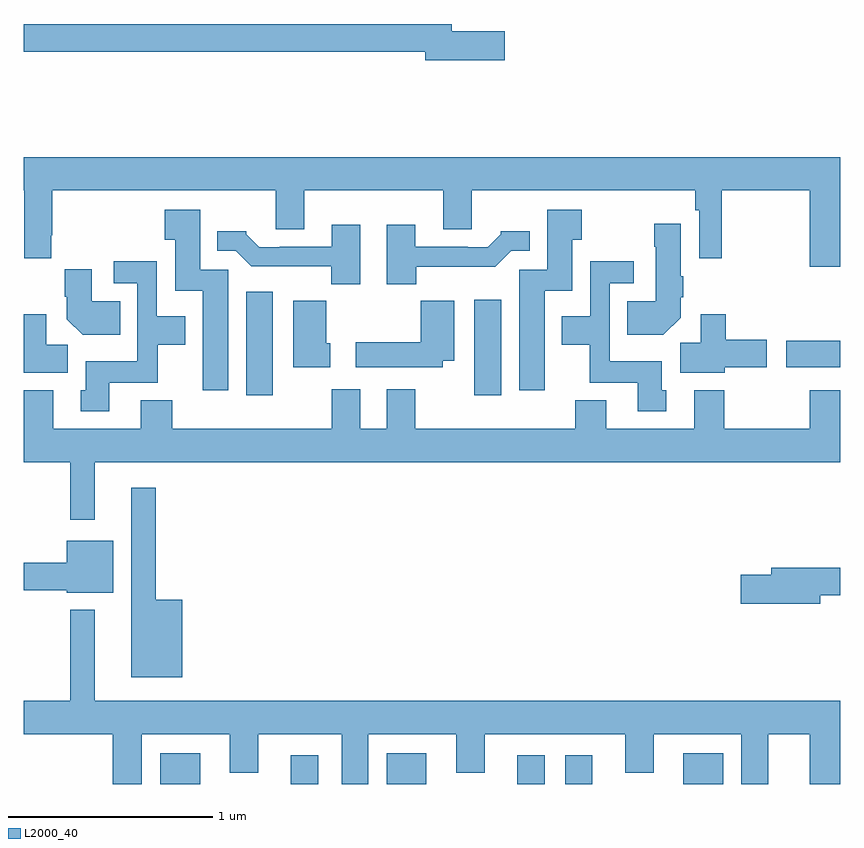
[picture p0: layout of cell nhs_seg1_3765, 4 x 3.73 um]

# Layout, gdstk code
import gdstk
lib = gdstk.Library(unit=1e-6, precision=1e-09)
def R(c, l, rs):  # rectangles x0, y0, x1, y1
    for r in rs: c.add(gdstk.rectangle(r[:2], r[2:], *l))
def P(c, l, *ps):  # polygons
    for p in ps: c.add(gdstk.Polygon(p, *l))
L2000_40 = (2000, 40)

nhs_seg1_3765 = lib.new_cell('nhs_seg1_3765')
R(nhs_seg1_3765, L2000_40, [(317.667,506.199,317.863,506.35), (318.308,506.199,318.442,506.341), (318.777,506.199,318.973,506.35), (319.418,506.199,319.552,506.341), (319.652,506.199,319.786,506.341), (320.231,506.199,320.427,506.35), (318.089,508.104,318.22,508.612), (319.208,508.104,319.339,508.573), (320.736,508.241,321,508.371)])
P(nhs_seg1_3765, L2000_40, [(319.357,509.888),(319.096,509.888),(319.096,509.924),(317,509.924),(317,509.788),(318.968,509.788),(318.968,509.746),(319.357,509.746)],
  [(321,509.272),(317,509.272),(317,509.108),(317.002,509.108),(317.002,508.776),(317.134,508.776),(317.134,508.888),(317.138,508.888),(317.138,509.108),(318.233,509.108),(318.233,508.918),(318.373,508.918),(318.373,509.108),(319.055,509.108),(319.055,508.918),(319.195,508.918),(319.195,509.108),(320.29,509.108),(320.29,509.012),(320.31,509.012),(320.31,508.776),(320.419,508.776),(320.419,509.108),(320.852,509.108),(320.852,508.734),(321,508.734)],
  [(318.001,508.719),(317.863,508.719),(317.863,509.014),(317.69,509.014),(317.69,508.867),(317.741,508.867),(317.741,508.616),(317.876,508.616),(317.876,508.128),(318.001,508.128)],
  [(319.552,508.616),(319.687,508.616),(319.687,508.867),(319.734,508.867),(319.734,509.014),(319.565,509.014),(319.565,508.719),(319.427,508.719),(319.427,508.128),(319.552,508.128)],
  [(320.218,508.484),(320.218,508.585),(320.231,508.585),(320.231,508.688),(320.218,508.688),(320.218,508.945),(320.089,508.945),(320.089,508.832),(320.096,508.832),(320.096,508.564),(319.957,508.564),(319.957,508.4),(320.134,508.4)],
  [(318.649,508.939),(318.509,508.939),(318.509,508.833),(318.253,508.833),(318.253,508.83),(318.154,508.83),(318.09,508.894),(318.09,508.909),(317.948,508.909),(317.948,508.812),(318.039,508.812),(318.115,508.736),(318.507,508.736),(318.507,508.649),(318.649,508.649)],
  [(318.922,508.734),(319.311,508.734),(319.389,508.812),(319.48,508.812),(319.48,508.909),(319.338,508.909),(319.338,508.894),(319.274,508.83),(319.175,508.83),(319.175,508.833),(318.919,508.833),(318.919,508.939),(318.779,508.939),(318.779,508.649),(318.922,508.649)],
  [(317.419,508.166),(317.655,508.166),(317.655,508.352),(317.791,508.352),(317.791,508.492),(317.652,508.492),(317.652,508.762),(317.439,508.762),(317.439,508.653),(317.556,508.653),(317.556,508.27),(317.303,508.27),(317.303,508.128),(317.279,508.128),(317.279,508.026),(317.419,508.026)],
  [(320.149,508.128),(320.125,508.128),(320.125,508.27),(319.872,508.27),(319.872,508.653),(319.99,508.653),(319.99,508.762),(319.776,508.762),(319.776,508.492),(319.637,508.492),(319.637,508.352),(319.774,508.352),(319.774,508.166),(320.009,508.166),(320.009,508.026),(320.149,508.026)],
  [(317.471,508.564),(317.332,508.564),(317.332,508.723),(317.201,508.723),(317.201,508.588),(317.21,508.588),(317.21,508.478),(317.288,508.4),(317.471,508.4)],
  [(318.502,508.359),(318.482,508.359),(318.482,508.567),(318.32,508.567),(318.32,508.241),(318.502,508.241)],
  [(319.053,508.274),(319.108,508.274),(319.108,508.567),(318.946,508.567),(318.946,508.363),(318.627,508.363),(318.627,508.241),(319.053,508.241)],
  [(317.215,508.352),(317.11,508.352),(317.11,508.501),(317,508.501),(317,508.214),(317.215,508.214)],
  [(320.436,508.241),(320.641,508.241),(320.641,508.376),(320.44,508.376),(320.44,508.501),(320.318,508.501),(320.318,508.361),(320.216,508.361),(320.216,508.214),(320.436,508.214)],
  [(321,508.129),(320.852,508.129),(320.852,507.94),(320.433,507.94),(320.433,508.129),(320.285,508.129),(320.285,507.94),(319.855,507.94),(319.855,508.081),(319.703,508.081),(319.703,507.94),(318.919,507.94),(318.919,508.135),(318.779,508.135),(318.779,507.94),(318.649,507.94),(318.649,508.135),(318.509,508.135),(318.509,507.94),(317.726,507.94),(317.726,508.081),(317.573,508.081),(317.573,507.94),(317.143,507.94),(317.143,508.129),(317,508.129),(317,507.776),(317.226,507.776),(317.226,507.495),(317.347,507.495),(317.347,507.776),(321,507.776)],
  [(317.776,507.103),(317.647,507.103),(317.647,507.652),(317.525,507.652),(317.525,506.723),(317.776,506.723)],
  [(317.437,507.391),(317.21,507.391),(317.21,507.284),(317,507.284),(317,507.148),(317.21,507.148),(317.21,507.137),(317.437,507.137)],
  [(320.902,507.124),(321,507.124),(321,507.26),(320.663,507.26),(320.663,507.224),(320.514,507.224),(320.514,507.082),(320.902,507.082)],
  [(317.347,507.052),(317.226,507.052),(317.226,506.608),(317,506.608),(317,506.444),(317.435,506.444),(317.435,506.199),(317.578,506.199),(317.578,506.444),(318.008,506.444),(318.008,506.254),(318.148,506.254),(318.148,506.444),(318.557,506.444),(318.557,506.199),(318.688,506.199),(318.688,506.444),(319.118,506.444),(319.118,506.254),(319.258,506.254),(319.258,506.444),(319.946,506.444),(319.946,506.254),(320.086,506.254),(320.086,506.444),(320.516,506.444),(320.516,506.199),(320.647,506.199),(320.647,506.444),(320.852,506.444),(320.852,506.199),(321,506.199),(321,506.608),(317.347,506.608)])

lib.write_gds('nhs_seg1_3765.gds')
